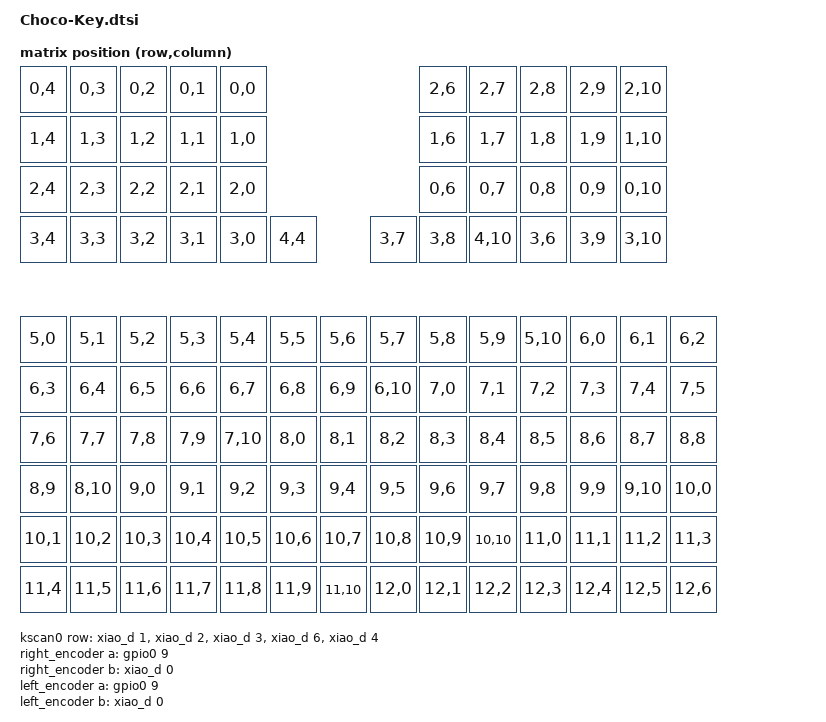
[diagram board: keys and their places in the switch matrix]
#include <dt-bindings/zmk/matrix_transform.h>
#include <physical_layouts.dtsi>

/ {
    chosen {
        zmk,kscan = &kscan0;
        zmk,physical-layout = &default_layout;
    };

    // ZMK Studio 用の物理レイアウト (キーの並び順はキーマップ・matrix transform と同じ)
    // 単位: 1/100 キー。基板 (Choco_Key.kicad_pcb) の 19mm 格子配置に合わせています。
    default_layout: default_layout {
        compatible = "zmk,physical-layout";
        display-name = "Choco-Key";
        transform = <&default_transform>;
        kscan = <&kscan0>;
        keys  //                     w   h     x    y  rot rx ry
            = <&key_physical_attrs 100 100     0    0  0 0 0>
            , <&key_physical_attrs 100 100   100    0  0 0 0>
            , <&key_physical_attrs 100 100   200    0  0 0 0>
            , <&key_physical_attrs 100 100   300    0  0 0 0>
            , <&key_physical_attrs 100 100   400    0  0 0 0>
            , <&key_physical_attrs 100 100   800    0  0 0 0>
            , <&key_physical_attrs 100 100   900    0  0 0 0>
            , <&key_physical_attrs 100 100  1000    0  0 0 0>
            , <&key_physical_attrs 100 100  1100    0  0 0 0>
            , <&key_physical_attrs 100 100  1200    0  0 0 0>
            , <&key_physical_attrs 100 100     0  100  0 0 0>
            , <&key_physical_attrs 100 100   100  100  0 0 0>
            , <&key_physical_attrs 100 100   200  100  0 0 0>
            , <&key_physical_attrs 100 100   300  100  0 0 0>
            , <&key_physical_attrs 100 100   400  100  0 0 0>
            , <&key_physical_attrs 100 100   800  100  0 0 0>
            , <&key_physical_attrs 100 100   900  100  0 0 0>
            , <&key_physical_attrs 100 100  1000  100  0 0 0>
            , <&key_physical_attrs 100 100  1100  100  0 0 0>
            , <&key_physical_attrs 100 100  1200  100  0 0 0>
            , <&key_physical_attrs 100 100     0  200  0 0 0>
            , <&key_physical_attrs 100 100   100  200  0 0 0>
            , <&key_physical_attrs 100 100   200  200  0 0 0>
            , <&key_physical_attrs 100 100   300  200  0 0 0>
            , <&key_physical_attrs 100 100   400  200  0 0 0>
            , <&key_physical_attrs 100 100   800  200  0 0 0>
            , <&key_physical_attrs 100 100   900  200  0 0 0>
            , <&key_physical_attrs 100 100  1000  200  0 0 0>
            , <&key_physical_attrs 100 100  1100  200  0 0 0>
            , <&key_physical_attrs 100 100  1200  200  0 0 0>
            , <&key_physical_attrs 100 100     0  300  0 0 0>
            , <&key_physical_attrs 100 100   100  300  0 0 0>
            , <&key_physical_attrs 100 100   200  300  0 0 0>
            , <&key_physical_attrs 100 100   300  300  0 0 0>
            , <&key_physical_attrs 100 100   400  300  0 0 0>
            , <&key_physical_attrs 100 100   500  300  0 0 0>
            , <&key_physical_attrs 100 100   700  300  0 0 0>
            , <&key_physical_attrs 100 100   800  300  0 0 0>
            , <&key_physical_attrs 100 100   900  300  0 0 0>
            , <&key_physical_attrs 100 100  1000  300  0 0 0>
            , <&key_physical_attrs 100 100  1100  300  0 0 0>
            , <&key_physical_attrs 100 100  1200  300  0 0 0>
            // ---- 仮想キー (物理キーなし。Choco Factory の即時編集用) ----
            // 42-45: エンコーダー (右 時計回り / 右 反時計回り / 左 時計回り / 左 反時計回り)
            // 46-93: マクロ 6 個 × 8 ステップ / 94-109: コンボの設定 16 個 / 110-125: コンボの出力 16 個
            , <&key_physical_attrs 100 100     0  500  0 0 0>
            , <&key_physical_attrs 100 100   100  500  0 0 0>
            , <&key_physical_attrs 100 100   200  500  0 0 0>
            , <&key_physical_attrs 100 100   300  500  0 0 0>
            , <&key_physical_attrs 100 100   400  500  0 0 0>
            , <&key_physical_attrs 100 100   500  500  0 0 0>
            , <&key_physical_attrs 100 100   600  500  0 0 0>
            , <&key_physical_attrs 100 100   700  500  0 0 0>
            , <&key_physical_attrs 100 100   800  500  0 0 0>
            , <&key_physical_attrs 100 100   900  500  0 0 0>
            , <&key_physical_attrs 100 100  1000  500  0 0 0>
            , <&key_physical_attrs 100 100  1100  500  0 0 0>
            , <&key_physical_attrs 100 100  1200  500  0 0 0>
            , <&key_physical_attrs 100 100  1300  500  0 0 0>
            , <&key_physical_attrs 100 100     0  600  0 0 0>
            , <&key_physical_attrs 100 100   100  600  0 0 0>
            , <&key_physical_attrs 100 100   200  600  0 0 0>
            , <&key_physical_attrs 100 100   300  600  0 0 0>
            , <&key_physical_attrs 100 100   400  600  0 0 0>
            , <&key_physical_attrs 100 100   500  600  0 0 0>
            , <&key_physical_attrs 100 100   600  600  0 0 0>
            , <&key_physical_attrs 100 100   700  600  0 0 0>
            , <&key_physical_attrs 100 100   800  600  0 0 0>
            , <&key_physical_attrs 100 100   900  600  0 0 0>
            , <&key_physical_attrs 100 100  1000  600  0 0 0>
            , <&key_physical_attrs 100 100  1100  600  0 0 0>
            , <&key_physical_attrs 100 100  1200  600  0 0 0>
            , <&key_physical_attrs 100 100  1300  600  0 0 0>
            , <&key_physical_attrs 100 100     0  700  0 0 0>
            , <&key_physical_attrs 100 100   100  700  0 0 0>
            , <&key_physical_attrs 100 100   200  700  0 0 0>
            , <&key_physical_attrs 100 100   300  700  0 0 0>
            , <&key_physical_attrs 100 100   400  700  0 0 0>
            , <&key_physical_attrs 100 100   500  700  0 0 0>
            , <&key_physical_attrs 100 100   600  700  0 0 0>
            , <&key_physical_attrs 100 100   700  700  0 0 0>
            , <&key_physical_attrs 100 100   800  700  0 0 0>
            , <&key_physical_attrs 100 100   900  700  0 0 0>
            , <&key_physical_attrs 100 100  1000  700  0 0 0>
            , <&key_physical_attrs 100 100  1100  700  0 0 0>
            , <&key_physical_attrs 100 100  1200  700  0 0 0>
            , <&key_physical_attrs 100 100  1300  700  0 0 0>
            , <&key_physical_attrs 100 100     0  800  0 0 0>
            , <&key_physical_attrs 100 100   100  800  0 0 0>
            , <&key_physical_attrs 100 100   200  800  0 0 0>
            , <&key_physical_attrs 100 100   300  800  0 0 0>
            , <&key_physical_attrs 100 100   400  800  0 0 0>
            , <&key_physical_attrs 100 100   500  800  0 0 0>
            , <&key_physical_attrs 100 100   600  800  0 0 0>
            , <&key_physical_attrs 100 100   700  800  0 0 0>
            , <&key_physical_attrs 100 100   800  800  0 0 0>
            , <&key_physical_attrs 100 100   900  800  0 0 0>
            , <&key_physical_attrs 100 100  1000  800  0 0 0>
            , <&key_physical_attrs 100 100  1100  800  0 0 0>
            , <&key_physical_attrs 100 100  1200  800  0 0 0>
            , <&key_physical_attrs 100 100  1300  800  0 0 0>
            , <&key_physical_attrs 100 100     0  900  0 0 0>
            , <&key_physical_attrs 100 100   100  900  0 0 0>
            , <&key_physical_attrs 100 100   200  900  0 0 0>
            , <&key_physical_attrs 100 100   300  900  0 0 0>
            , <&key_physical_attrs 100 100   400  900  0 0 0>
            , <&key_physical_attrs 100 100   500  900  0 0 0>
            , <&key_physical_attrs 100 100   600  900  0 0 0>
            , <&key_physical_attrs 100 100   700  900  0 0 0>
            , <&key_physical_attrs 100 100   800  900  0 0 0>
            , <&key_physical_attrs 100 100   900  900  0 0 0>
            , <&key_physical_attrs 100 100  1000  900  0 0 0>
            , <&key_physical_attrs 100 100  1100  900  0 0 0>
            , <&key_physical_attrs 100 100  1200  900  0 0 0>
            , <&key_physical_attrs 100 100  1300  900  0 0 0>
            , <&key_physical_attrs 100 100     0  1000  0 0 0>
            , <&key_physical_attrs 100 100   100  1000  0 0 0>
            , <&key_physical_attrs 100 100   200  1000  0 0 0>
            , <&key_physical_attrs 100 100   300  1000  0 0 0>
            , <&key_physical_attrs 100 100   400  1000  0 0 0>
            , <&key_physical_attrs 100 100   500  1000  0 0 0>
            , <&key_physical_attrs 100 100   600  1000  0 0 0>
            , <&key_physical_attrs 100 100   700  1000  0 0 0>
            , <&key_physical_attrs 100 100   800  1000  0 0 0>
            , <&key_physical_attrs 100 100   900  1000  0 0 0>
            , <&key_physical_attrs 100 100  1000  1000  0 0 0>
            , <&key_physical_attrs 100 100  1100  1000  0 0 0>
            , <&key_physical_attrs 100 100  1200  1000  0 0 0>
            , <&key_physical_attrs 100 100  1300  1000  0 0 0>
            ;
    };

    default_transform: keymap_transform_0 {
        compatible = "zmk,matrix-transform";
        columns = <11>;
        rows = <13>;
        map = <
            RC(0,4) RC(0,3) RC(0,2) RC(0,1) RC(0,0)                     RC(2,6) RC(2,7)  RC(2,8) RC(2,9) RC(2,10)
            RC(1,4) RC(1,3) RC(1,2) RC(1,1) RC(1,0)                     RC(1,6) RC(1,7)  RC(1,8) RC(1,9) RC(1,10)
            RC(2,4) RC(2,3) RC(2,2) RC(2,1) RC(2,0)                     RC(0,6) RC(0,7)  RC(0,8) RC(0,9) RC(0,10)
            RC(3,4) RC(3,3) RC(3,2) RC(3,1) RC(3,0) RC(4,4)     RC(3,7) RC(3,8) RC(4,10) RC(3,6) RC(3,9) RC(3,10)
            // 仮想キー 42〜125 (キースキャンには存在しない行。Choco Factory の即時編集用)
            RC(5,0) RC(5,1) RC(5,2) RC(5,3) RC(5,4) RC(5,5) RC(5,6) RC(5,7) RC(5,8) RC(5,9) RC(5,10)
            RC(6,0) RC(6,1) RC(6,2) RC(6,3) RC(6,4) RC(6,5) RC(6,6) RC(6,7) RC(6,8) RC(6,9) RC(6,10)
            RC(7,0) RC(7,1) RC(7,2) RC(7,3) RC(7,4) RC(7,5) RC(7,6) RC(7,7) RC(7,8) RC(7,9) RC(7,10)
            RC(8,0) RC(8,1) RC(8,2) RC(8,3) RC(8,4) RC(8,5) RC(8,6) RC(8,7) RC(8,8) RC(8,9) RC(8,10)
            RC(9,0) RC(9,1) RC(9,2) RC(9,3) RC(9,4) RC(9,5) RC(9,6) RC(9,7) RC(9,8) RC(9,9) RC(9,10)
            RC(10,0) RC(10,1) RC(10,2) RC(10,3) RC(10,4) RC(10,5) RC(10,6) RC(10,7) RC(10,8) RC(10,9) RC(10,10)
            RC(11,0) RC(11,1) RC(11,2) RC(11,3) RC(11,4) RC(11,5) RC(11,6) RC(11,7) RC(11,8) RC(11,9) RC(11,10)
            RC(12,0) RC(12,1) RC(12,2) RC(12,3) RC(12,4) RC(12,5) RC(12,6)
        >;
    };
    
    kscan0: kscan {
        compatible = "zmk,kscan-gpio-matrix";
        label = "KSCAN";
        diode-direction = "col2row";
            row-gpios
                = <&xiao_d 1 (GPIO_ACTIVE_HIGH | GPIO_PULL_DOWN)> 
                , <&xiao_d 2 (GPIO_ACTIVE_HIGH | GPIO_PULL_DOWN)> 
                , <&xiao_d 3 (GPIO_ACTIVE_HIGH | GPIO_PULL_DOWN)> 
                , <&xiao_d 6 (GPIO_ACTIVE_HIGH | GPIO_PULL_DOWN)> 
                , <&xiao_d 4 (GPIO_ACTIVE_HIGH | GPIO_PULL_DOWN)> 
                ;
    };

    right_encoder: encoder_right {
        compatible = "alps,ec11";
        a-gpios = <&gpio0 9 (GPIO_ACTIVE_HIGH | GPIO_PULL_UP)>;
        b-gpios = <&xiao_d 0 (GPIO_ACTIVE_HIGH | GPIO_PULL_UP)>;
        steps = <24>;
        status = "disabled";
    };

    left_encoder: encoder_left {
        compatible = "alps,ec11";
        a-gpios = <&gpio0 9 (GPIO_ACTIVE_HIGH | GPIO_PULL_UP)>;
        b-gpios = <&xiao_d 0 (GPIO_ACTIVE_HIGH | GPIO_PULL_UP)>;
        steps = <24>;
        status = "disabled";
    };

    sensors: sensors {
        compatible = "zmk,keymap-sensors";
        sensors = <&right_encoder &left_encoder>;
        triggers-per-rotation = <10>;
    };
};
